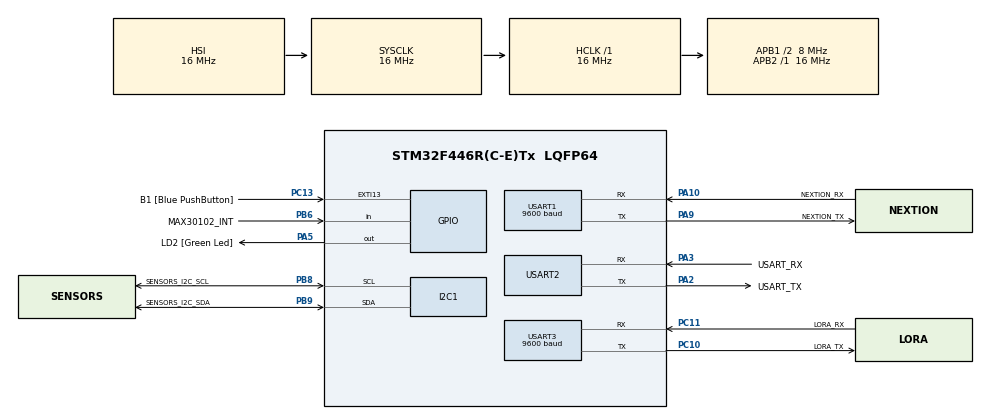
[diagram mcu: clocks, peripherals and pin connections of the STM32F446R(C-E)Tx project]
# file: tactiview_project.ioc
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FREERTOS.Tasks01=defaultTask,24,128,StartDefaultTask,Default,NULL,Dynamic,NULL,NULL
FREERTOS.configUSE_NEWLIB_REENTRANT=1
Mcu.Family=STM32F4
Mcu.Name=STM32F446R(C-E)Tx
Mcu.Package=LQFP64
NVIC.PriorityGroup=NVIC_PRIORITYGROUP_4
NVIC.TIM6_DAC_IRQn=true\:15\:0\:false\:false\:true\:false\:false\:true\:true
NVIC.TimeBase=TIM6_DAC_IRQn
NVIC.TimeBaseIP=TIM6
NVIC.USART1_IRQn=true\:5\:0\:false\:false\:true\:true\:true\:true\:true
NVIC.USART3_IRQn=true\:5\:0\:false\:false\:true\:true\:true\:true\:true
PA10.GPIO_Label=NEXTION_RX
PA10.Mode=Asynchronous
PA10.Signal=USART1_RX
PA13.GPIO_Label=TMS
PA13.Mode=Serial_Wire
PA13.Signal=SYS_JTMS-SWDIO
PA14.GPIO_Label=TCK
PA14.Mode=Serial_Wire
PA14.Signal=SYS_JTCK-SWCLK
PA2.GPIO_Label=USART_TX
PA2.Mode=Asynchronous
PA2.Signal=USART2_TX
PA3.GPIO_Label=USART_RX
PA3.Mode=Asynchronous
PA3.Signal=USART2_RX
PA5.GPIO_Label=LD2 [Green Led]
PA5.Signal=GPIO_Output
PA9.GPIO_Label=NEXTION_TX
PA9.Mode=Asynchronous
PA9.Signal=USART1_TX
PB3.GPIO_Label=SWO
PB3.Signal=SYS_JTDO-SWO
PB6.GPIO_Label=MAX30102_INT
PB6.Signal=GPIO_Input
PB8.GPIO_Label=SENSORS_I2C_SCL
PB8.Mode=I2C
PB8.Signal=I2C1_SCL
PB9.GPIO_Label=SENSORS_I2C_SDA
PB9.Mode=I2C
PB9.Signal=I2C1_SDA
PC10.GPIO_Label=LORA_TX
PC10.Mode=Asynchronous
PC10.Signal=USART3_TX
PC11.GPIO_Label=LORA_RX
PC11.Mode=Asynchronous
PC11.Signal=USART3_RX
PC13.GPIO_Label=B1 [Blue PushButton]
PC13.GPIO_ModeDefaultEXTI=GPIO_MODE_IT_FALLING
PC13.Signal=GPXTI13
PH0-OSC_IN.Mode=HSE-External-Oscillator
PH0-OSC_IN.Signal=RCC_OSC_IN
PH1-OSC_OUT.Mode=HSE-External-Oscillator
PH1-OSC_OUT.Signal=RCC_OSC_OUT
ProjectManager.HeapSize=0x200
ProjectManager.StackSize=0x400
ProjectManager.TargetToolchain=STM32CubeIDE
RCC.48MHZClocksFreq_Value=84000000
RCC.AHBFreq_Value=16000000
RCC.APB1CLKDivider=RCC_HCLK_DIV2
RCC.APB1Freq_Value=8000000
RCC.APB1TimFreq_Value=16000000
RCC.APB2Freq_Value=16000000
RCC.APB2TimFreq_Value=16000000
RCC.CortexFreq_Value=16000000
RCC.FLatency-AdvancedSettings=FLASH_LATENCY_0
RCC.HCLKFreq_Value=16000000
RCC.HSE_VALUE=8000000
RCC.HSI_VALUE=16000000
RCC.PLLN=336
RCC.PLLP=RCC_PLLP_DIV4
RCC.SYSCLKFreq_VALUE=16000000
RCC.USBFreq_Value=168000000
RCC.VCOOutputFreq_Value=336000000
USART1.BaudRate=9600
USART1.VirtualMode=VM_ASYNC
USART2.VirtualMode=VM_ASYNC
USART3.BaudRate=9600
USART3.VirtualMode=VM_ASYNC
VP_FREERTOS_VS_CMSIS_V2.Mode=CMSIS_V2
VP_SYS_VS_tim6.Mode=TIM6
board=NUCLEO-F446RE

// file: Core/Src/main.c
/* USER CODE BEGIN Header */
/**
  ******************************************************************************
  * @file           : main.c
  * @brief          : Main program body
  ******************************************************************************
  * @attention
  *
  * Copyright (c) 2026 STMicroelectronics.
  * All rights reserved.
  *
  * This software is licensed under terms that can be found in the LICENSE file
  * in the root directory of this software component.
  * If no LICENSE file comes with this software, it is provided AS-IS.
  *
  ******************************************************************************
  */
/* USER CODE END Header */
#include "main.h"
#include "cmsis_os.h"

/* USER CODE BEGIN PD */
#define DEVICE_ID 1
/* USER CODE END PD */

I2C_HandleTypeDef hi2c1;

UART_HandleTypeDef huart1;
UART_HandleTypeDef huart2;
UART_HandleTypeDef huart3;

/* Definitions for defaultTask */
osThreadId_t defaultTaskHandle;
const osThreadAttr_t defaultTask_attributes = {
  .name = "defaultTask",
  .stack_size = 128 * 4,
  .priority = (osPriority_t) osPriorityNormal,
};

void SystemClock_Config(void);
static void MX_GPIO_Init(void);
static void MX_USART2_UART_Init(void);
static void MX_I2C1_Init(void);
static void MX_USART1_UART_Init(void);
static void MX_USART3_UART_Init(void);
void StartDefaultTask(void *argument);

/* USER CODE BEGIN 0 */
void sensors_init_task(void *pvParameters);
void body_temp_task(void *pvParameters);
void enviroment_task(void *pvParameters);
void pulse_task(void *pvParameters);
void screen_data_tx_task(void *pvParameters);
void screen_data_rx_task(void* pvParameters);

TaskHandle_t sensors_init_handle ;
TaskHandle_t pulse_handle ;
TaskHandle_t body_temp_handle ;
TaskHandle_t enviroment_handle ;
TaskHandle_t datatx_handle ;
TaskHandle_t datarx_handle;

uint32_t raw_pulse = 0;
static SemaphoreHandle_t semphr_i2c;
static QueueHandle_t qEnv, qBody, qBpm, qSpo2, qLora;
/* USER CODE END 0 */

int main(void)
{

  /* MCU Configuration--------------------------------------------------------*/

  /* Reset of all peripherals, Initializes the Flash interface and the Systick. */
  HAL_Init();

  /* Configure the system clock */
  SystemClock_Config();

  /* Initialize all configured peripherals */
  MX_GPIO_Init();
  MX_USART2_UART_Init();
  MX_I2C1_Init();
  MX_USART1_UART_Init();
  MX_USART3_UART_Init();
  /* USER CODE BEGIN 2 */
  HAL_Delay(1000);
  BaseType_t status;

  status = xTaskCreate(sensors_init_task, "Sensors Init Task", 1024, NULL, 1, &sensors_init_handle);
  if(status != pdPASS ){
	  Error_Handler();
  }
  status = xTaskCreate(pulse_task, "Pulse Task", 2048, NULL, 1, &pulse_handle);
  if(status != pdPASS ){
	  Error_Handler();
  }
  status = xTaskCreate(enviroment_task, "Enviroment Task", 2048, NULL, 1, &enviroment_handle);
  if(status != pdPASS ){
	  Error_Handler();
  }
  status = xTaskCreate(body_temp_task, "Body Temp Task", 2048, NULL, 1, &body_temp_handle);
  if(status != pdPASS ){
	  Error_Handler();
  }
  status = xTaskCreate(screen_data_tx_task, "Screen Data Transmit Task", 2048, NULL, 1, &datatx_handle);
  if(status != pdPASS ){
	  Error_Handler();
  }

  status = xTaskCreate(screen_data_rx_task, "Screen Data Recieve Task", 2048, NULL, 1, &datarx_handle);
  if(status != pdPASS ){
	  Error_Handler();
  }

  semphr_i2c = xSemaphoreCreateMutex();

  qEnv = xQueueCreate(5,sizeof(struct bme68x_data));
  qBody = xQueueCreate(5,sizeof(float));
  qBpm =  xQueueCreate(5,sizeof(uint8_t));
  qSpo2 = xQueueCreate(5,sizeof(uint8_t));
  qLora = xQueueCreate(2,sizeof(lora_msg));

  xSemaphoreGive(semphr_i2c);

  vTaskStartScheduler();
  /* USER CODE END 2 */

  /* Init scheduler */
  osKernelInitialize();

  /* Create the thread(s) */
  /* creation of defaultTask */
  defaultTaskHandle = osThreadNew(StartDefaultTask, NULL, &defaultTask_attributes);

  /* Start scheduler */
  osKernelStart();

  /* We should never get here as control is now taken by the scheduler */

  /* Infinite loop */
  while (1)
  {

  }
}

void SystemClock_Config(void)
{
  RCC_OscInitTypeDef RCC_OscInitStruct = {0};
  RCC_ClkInitTypeDef RCC_ClkInitStruct = {0};

  /** Configure the main internal regulator output voltage
  */
  __HAL_RCC_PWR_CLK_ENABLE();
  __HAL_PWR_VOLTAGESCALING_CONFIG(PWR_REGULATOR_VOLTAGE_SCALE3);

  /** Initializes the RCC Oscillators according to the specified parameters
  * in the RCC_OscInitTypeDef structure.
  */
  RCC_OscInitStruct.OscillatorType = RCC_OSCILLATORTYPE_HSI;
  RCC_OscInitStruct.HSIState = RCC_HSI_ON;
  RCC_OscInitStruct.HSICalibrationValue = RCC_HSICALIBRATION_DEFAULT;
  RCC_OscInitStruct.PLL.PLLState = RCC_PLL_NONE;
  if (HAL_RCC_OscConfig(&RCC_OscInitStruct) != HAL_OK)
  {
    Error_Handler();
  }

  /** Initializes the CPU, AHB and APB buses clocks
  */
  RCC_ClkInitStruct.ClockType = RCC_CLOCKTYPE_HCLK|RCC_CLOCKTYPE_SYSCLK
                              |RCC_CLOCKTYPE_PCLK1|RCC_CLOCKTYPE_PCLK2;
  RCC_ClkInitStruct.SYSCLKSource = RCC_SYSCLKSOURCE_HSI;
  RCC_ClkInitStruct.AHBCLKDivider = RCC_SYSCLK_DIV1;
  RCC_ClkInitStruct.APB1CLKDivider = RCC_HCLK_DIV2;
  RCC_ClkInitStruct.APB2CLKDivider = RCC_HCLK_DIV1;

  if (HAL_RCC_ClockConfig(&RCC_ClkInitStruct, FLASH_LATENCY_0) != HAL_OK)
  {
    Error_Handler();
  }
}

static void MX_I2C1_Init(void)
{

  hi2c1.Instance = I2C1;
  hi2c1.Init.ClockSpeed = 100000;
  hi2c1.Init.DutyCycle = I2C_DUTYCYCLE_2;
  hi2c1.Init.OwnAddress1 = 0;
  hi2c1.Init.AddressingMode = I2C_ADDRESSINGMODE_7BIT;
  hi2c1.Init.DualAddressMode = I2C_DUALADDRESS_DISABLE;
  hi2c1.Init.OwnAddress2 = 0;
  hi2c1.Init.GeneralCallMode = I2C_GENERALCALL_DISABLE;
  hi2c1.Init.NoStretchMode = I2C_NOSTRETCH_DISABLE;
  if (HAL_I2C_Init(&hi2c1) != HAL_OK)
  {
    Error_Handler();
  }

}

static void MX_USART1_UART_Init(void)
{

  huart1.Instance = USART1;
  huart1.Init.BaudRate = 9600;
  huart1.Init.WordLength = UART_WORDLENGTH_8B;
  huart1.Init.StopBits = UART_STOPBITS_1;
  huart1.Init.Parity = UART_PARITY_NONE;
  huart1.Init.Mode = UART_MODE_TX_RX;
  huart1.Init.HwFlowCtl = UART_HWCONTROL_NONE;
  huart1.Init.OverSampling = UART_OVERSAMPLING_16;
  if (HAL_UART_Init(&huart1) != HAL_OK)
  {
    Error_Handler();
  }

}

static void MX_USART2_UART_Init(void)
{

  huart2.Instance = USART2;
  huart2.Init.BaudRate = 115200;
  huart2.Init.WordLength = UART_WORDLENGTH_8B;
  huart2.Init.StopBits = UART_STOPBITS_1;
  huart2.Init.Parity = UART_PARITY_NONE;
  huart2.Init.Mode = UART_MODE_TX_RX;
  huart2.Init.HwFlowCtl = UART_HWCONTROL_NONE;
  huart2.Init.OverSampling = UART_OVERSAMPLING_16;
  if (HAL_UART_Init(&huart2) != HAL_OK)
  {
    Error_Handler();
  }

}

static void MX_USART3_UART_Init(void)
{

  huart3.Instance = USART3;
  huart3.Init.BaudRate = 9600;
  huart3.Init.WordLength = UART_WORDLENGTH_8B;
  huart3.Init.StopBits = UART_STOPBITS_1;
  huart3.Init.Parity = UART_PARITY_NONE;
  huart3.Init.Mode = UART_MODE_TX_RX;
  huart3.Init.HwFlowCtl = UART_HWCONTROL_NONE;
  huart3.Init.OverSampling = UART_OVERSAMPLING_16;
  if (HAL_UART_Init(&huart3) != HAL_OK)
  {
    Error_Handler();
  }

}

static void MX_GPIO_Init(void)
{
  GPIO_InitTypeDef GPIO_InitStruct = {0};

  /* GPIO Ports Clock Enable */
  __HAL_RCC_GPIOC_CLK_ENABLE();
  __HAL_RCC_GPIOH_CLK_ENABLE();
  __HAL_RCC_GPIOA_CLK_ENABLE();
  __HAL_RCC_GPIOB_CLK_ENABLE();

  /*Configure GPIO pin Output Level */
  HAL_GPIO_WritePin(LD2_GPIO_Port, LD2_Pin, GPIO_PIN_RESET);

  /*Configure GPIO pin : B1_Pin */
  GPIO_InitStruct.Pin = B1_Pin;
  GPIO_InitStruct.Mode = GPIO_MODE_IT_FALLING;
  GPIO_InitStruct.Pull = GPIO_NOPULL;
  HAL_GPIO_Init(B1_GPIO_Port, &GPIO_InitStruct);

  /*Configure GPIO pin : LD2_Pin */
  GPIO_InitStruct.Pin = LD2_Pin;
  GPIO_InitStruct.Mode = GPIO_MODE_OUTPUT_PP;
  GPIO_InitStruct.Pull = GPIO_NOPULL;
  GPIO_InitStruct.Speed = GPIO_SPEED_FREQ_LOW;
  HAL_GPIO_Init(LD2_GPIO_Port, &GPIO_InitStruct);

  /*Configure GPIO pin : MAX30102_INT_Pin */
  GPIO_InitStruct.Pin = MAX30102_INT_Pin;
  GPIO_InitStruct.Mode = GPIO_MODE_INPUT;
  GPIO_InitStruct.Pull = GPIO_NOPULL;
  HAL_GPIO_Init(MAX30102_INT_GPIO_Port, &GPIO_InitStruct);

}

/* USER CODE BEGIN 4 */
void vApplicationStackOverflowHook(TaskHandle_t xTask, char *pcTaskName) {
    (void)xTask; (void)pcTaskName;
    __BKPT(0);
    for(;;);
}
void vApplicationMallocFailedHook(void) {
    __BKPT(0);
    for(;;);
}

/* Re-arm receive IT after a UART error so the ISR is never permanently lost */
void HAL_UART_ErrorCallback(UART_HandleTypeDef *huart)
{
    if (huart->Instance == USART3)
    {
        HAL_UART_Receive_IT(&huart3, &screen_rx_byte, 1);
    }
    if (huart->Instance == USART1)
    {
        HAL_UART_Receive_IT(&huart1, &lora_rx_byte, 1);
    }
}

void HAL_UART_RxCpltCallback(UART_HandleTypeDef *huart)
{
    if (huart->Instance == USART3) //nextion uart bu adresi kullanyor.
    {
    	//byte mesajı ayıklama.
        switch (screen_state)
        {
            case 0:
                if (screen_rx_byte == START_CHAR) screen_state = 1;
                break;

            case 1:
                if (screen_rx_byte == PAGE_CHAR) {
                    screen_state = 2;
                } else {
                    screen_state = 0;
                }
                break;

            case 2: // component ID
                screen_comp = screen_rx_byte;
                screen_state = 3;
                break;

            case 3:
            {
                BaseType_t xHigherPriorityTaskWoken = pdFALSE;

                xTaskNotifyFromISR(
                    datarx_handle,
                    0,
                    eNoAction,
                    &xHigherPriorityTaskWoken
                );
                //ekrana yazma taskına bildirim at
                portYIELD_FROM_ISR(xHigherPriorityTaskWoken);

                screen_state = 0;
                break;
            }
        }

        // UART kesmesi içinde tekrar 1 byte al
        HAL_UART_Receive_IT(&huart3, &screen_rx_byte, 1);
    }
    if(huart->Instance == USART1){ //lora uart bu adresi kullanıyor. //todo gereksiz uart girişi var.
    	if (lora_rx_byte == '\r') {
    	    // ignore carriage return
    	}else if(lora_rx_byte != '\n'){
    		if (lora_rx_index < sizeof(lora_msg) - 1) {
    		    lora_msg[lora_rx_index++] = lora_rx_byte;
    		} else {
    		    lora_rx_index = 0;
    		}
    	}else{
    		lora_msg[lora_rx_index] = '\0';   // NULL termination EKLENDİ
    		if (lora_rx_index > 0) {          // ignore empty messages (stray \n from LoRa module response)
    		    xQueueSendFromISR(qLora, lora_msg, NULL);
    		}
    		lora_rx_index = 0;
    	}
    	HAL_UART_Receive_IT(&huart1, &lora_rx_byte, 1);

    }
}

void sensors_init_task(void *pvParameters) {
	if (xSemaphoreTake(semphr_i2c, portMAX_DELAY) == pdTRUE) { //senkronizasyon için binary semaphor kullanıldı.
		max30102_user_init();
		bme680_user_init();
		mlx90614_init();
		xSemaphoreGive(semphr_i2c);
	}
	for (;;) {
		xTaskNotifyWait(0, 0, NULL, portMAX_DELAY); //yeniden init gerekirse notify bekle.
	}
}

void pulse_task(void *pvParameters) {
    static uint8_t bpm = 0;
    static uint8_t spo2 = 0;
    uint8_t prev_bpm = 0;
    SensorState_t state ;
    static uint8_t fake_bpm = 0;
    static const TickType_t POLL_FAST_MS = pdMS_TO_TICKS(10);
    static const TickType_t POLL_SLOW_MS = pdMS_TO_TICKS(500);

    for (;;) {
        if (xSemaphoreTake(semphr_i2c, pdMS_TO_TICKS(500)) == pdTRUE) {
            max30102_user_read(&bpm, &spo2,&state);
            xSemaphoreGive(semphr_i2c);
        }
        if (fake_bpm == 0) {
            // 62–72 arası rastgele başlangıç
            fake_bpm = 62 + (rand() % 11);
        }
        switch (state) {
            case SENSOR_NO_FINGER:
                bpm      = 0;
                spo2     = 0;
                prev_bpm = 0;
                fake_bpm = 0;
                break;

            case SENSOR_WARMING_UP:
                // Her 2 saniyede bir hafifçe oynasın (±1)
                if ((HAL_GetTick() % 2000) < 100) {
                    int8_t delta = (10 % 3) - 1;  // -1, 0, +1
                    fake_bpm += delta;
                    if (fake_bpm < 62) fake_bpm = 62;
                    if (fake_bpm > 72) fake_bpm = 72;
                }
                bpm = (prev_bpm > 0) ? prev_bpm : fake_bpm;
                break;

            case SENSOR_MEASURING:
                if (bpm < 55 || bpm > 140) {
                    // Geçersiz aralık → öncekini koru
                    bpm = (prev_bpm > 0) ? prev_bpm : 63;
                } else {
                    prev_bpm = bpm;  // geçerli → kaydet
                }
                break;
        }
        xQueueSend(qBpm, &bpm, 0);
        xQueueSend(qSpo2, &spo2, 0);
        if (state == SENSOR_NO_FINGER) {
              vTaskDelay(POLL_SLOW_MS);
         } else {
              vTaskDelay(POLL_FAST_MS);
         }
    }
}

void enviroment_task(void *pvParameters) {
    struct bme68x_data air_data;
    for (;;) {

        if (xSemaphoreTake(semphr_i2c, pdMS_TO_TICKS(500)) == pdTRUE) {
            bme680_read_withiaq(&air_data);
            if(air_data.temperature > 30){
            	air_data.tempe -= 6 ;
            	air_data.temperature -= 6;

            }
            xSemaphoreGive(semphr_i2c);

        }
        xQueueSend(qEnv,&air_data,0); //todo düşün
        vTaskDelay(pdMS_TO_TICKS(1000));
    }
}

void body_temp_task(void *pvParameters) {
    float temp = 0;
    for (;;) {
    	if((int32_t)temp == -268){
    		NVIC_SystemReset();
    	}
        if (xSemaphoreTake(semphr_i2c, pdMS_TO_TICKS(500)) == pdTRUE) {
            mlx90614_read_temp(&temp);
            temp+= 4.5 ;
            xSemaphoreGive(semphr_i2c);
        }
        xQueueSend(qBody,&temp,0); //todo düşün
        vTaskDelay(pdMS_TO_TICKS(300)); // örneğin her 0.5 sn sleep mode düşün
    }
}

void screen_data_tx_task(void *pvParameters) {
	uint8_t bpm;
	uint8_t spo2;
	char lora_msg_task[72];
	float body_temp;
    struct bme68x_data air_data;
    char air_q[20]; //air quality string

    NX_Init(); // ekranı başlat.
    uint32_t last_time = HAL_GetTick();

    HAL_UART_Receive_IT(&huart1, &lora_rx_byte, 1); //lora recieve interrupt başlatıldı.
    for (;;) {
    	if(xQueueReceive(qBpm, &bpm, 50) != pdPASS){ //en hızlı gelen veri

    	}
    	if(xQueueReceive(qSpo2, &spo2, 50) != pdPASS){ //spo2 verisi

    	}
    	if(xQueueReceive(qBody, &body_temp, 50) != pdPASS){ //orta hızlı gelen veri

    	}
    	if(xQueueReceive(qEnv,  &air_data, 50) != pdPASS){ // yavaş gelen veri

    	}
    	if (xQueueReceive(qLora, lora_msg_task, 5) == pdPASS)
    	{
    	    int target_id = 0;
    	    char msg[64] = {0};
    	    uint8_t show_msg = 1;

    	    // LoRa modül cevaplarını ve monitoring paketlerini gösterme
    	    if (strcmp(lora_msg_task, "CCESS") == 0 ||
    	        strcmp(lora_msg_task, "CESS") == 0 ||
    	        strcmp(lora_msg_task, "SS") == 0 ||
    	        strcmp(lora_msg_task, "SUCCESS") == 0 ||
				strcmp(lora_msg_task, "ESS") == 0 ||
				strcmp(lora_msg_task, "S") == 0 ||
    	        lora_msg_task[0] == '!')
    	    {
    	        show_msg = 0;
    	    }

    	    // ADM ID=x MSG=... formatındaki yönetici mesajı
    	    else if (sscanf(lora_msg_task, "ADM ID=%d MSG=%63[^\n]", &target_id, msg) == 2)
    	    {
    	        if (target_id != DEVICE_ID)
    	        {
    	            // Mesaj bu cihaza ait değilse pas geç
    	            show_msg = 0;
    	        }
    	        else
    	        {
    	            // Mesaj bu cihaza aitse sadece MSG içeriğini göster
    	        	snprintf(lora_msg_task, sizeof(lora_msg_task), "Admin: %s", msg);
    	        }
    	    }

    	    if (show_msg)
    	    {
    	        NX_send_cmd("page0.n0.val+=1");

    	        NX_send_cmd("page3.m4.txt=page3.m3.txt");
    	        NX_send_cmd("page3.m3.txt=page3.m2.txt");
    	        NX_send_cmd("page3.m2.txt=page3.m1.txt");

    	        char nextionCmd[96];
    	        snprintf(nextionCmd, sizeof(nextionCmd),
    	                 "page3.m1.txt=\"%s\"", lora_msg_task);

    	        NX_send_cmd(nextionCmd);
    	    }
    	}
    	if(bpm == 0 || spo2 == 0){
    		bpm = 0;
    		spo2 = 0;
    	}
    	//queue dan alınan verileri ekrana gönder.
    	NX_set_data(box_pulse, (int16_t)bpm);
    	NX_set_data(box_spo2, (int16_t)spo2);
    	NX_set_data(box_enviroment_temp, (int16_t)(air_data.temperature) + 0.5f);
    	NX_set_data(box_humidity, (int16_t)(air_data.humidity + 0.5f));
    	NX_set_float(box_body_temp, (body_temp));
    	air_quality(&air_data, air_q);
    	NX_set_txt(box_air_quality, air_q);

    	if(HAL_GetTick() - last_time >= 30000)
    	{
    	    last_time = HAL_GetTick();

    	    char monitor_msg[128];

    	    snprintf(monitor_msg, sizeof(monitor_msg),
    	             "!ID=%d BPM=%d SPO2=%d BT=%.2f T=%d H=%d IAQ=%s\n",
    	             DEVICE_ID,
					 bpm,
    	             spo2,
    	             body_temp,
    	             (int16_t)(air_data.temperature + 0.5f),
    	             (int16_t)(air_data.humidity + 0.5f),
    	             air_q);

    	    lora_send_msg(monitor_msg);
    	}

        vTaskDelay(pdMS_TO_TICKS(200)); // BME680 periyodunda
#ifdef UART_LOG
        char msg[40];
        int len = snprintf(msg, sizeof(msg),"[TX] BPM=%d  BT=%.2f  T=%d  H=%d  IAQ=%d\n",
                bpm,
                body_temp,
                (int16_t)(air_data.temperature + 0.5f),
                (int16_t)(air_data.humidity + 0.5f),
                (uint8_t)(air_quality(&air_data) ) );
        HAL_UART_Transmit(&huart2, (uint8_t*)msg, (uint16_t)len, HAL_MAX_DELAY);
#endif
    }
}

void screen_data_rx_task(void* pvParameters){
	HAL_UART_Receive_IT(&huart3, &screen_rx_byte, 1); //screen recieve interrupt başlatıldı.
	for(;;){
		xTaskNotifyWait(0, 0, NULL, portMAX_DELAY); //bildirim bekle
		if (screen_rx_byte == END_CHAR) {
			// ✅ Tam paket alındı
			switch (screen_comp) {
			case 0x01: //msg box number reset
				NX_send_cmd("page0.n0.val=0");
				break;

			case 0x02: //send pulse and spo2 info.
				uint8_t bpm;
				float body_temp;
				if(xQueuePeek(qBpm, &bpm, 10) == pdTRUE || xQueuePeek(qBody, &body_temp, 10) == pdTRUE ){
					snprintf(nextion_msg,sizeof(nextion_msg),"Pulse: %d, BODY TEMP: %d",bpm,(uint8_t)body_temp);
				}else{

					snprintf(nextion_msg,sizeof(nextion_msg),"Pulse: ERR, BODY TEMP: ERR");
				}
				lora_send_msg(nextion_msg);
				break;
			case 0x04: // I'M OK //ayıklanan byte da gelen veriye göre aksiyon al
				snprintf(nextion_msg,sizeof(nextion_msg),"ID:%d I'M OK\n",DEVICE_ID);
				lora_send_msg(nextion_msg);
				break;

			case 0x05: // HELP
				snprintf(nextion_msg,sizeof(nextion_msg),"ID:%d HELP\n",DEVICE_ID);
				lora_send_msg(nextion_msg);

				break;

			case 0x06: // DANGER
				snprintf(nextion_msg,sizeof(nextion_msg),"ID:%d DANGER\n",DEVICE_ID);
				lora_send_msg(nextion_msg);
				break;

			case 0x07: // INJURED
				snprintf(nextion_msg,sizeof(nextion_msg),"ID:%d INJURED\n",DEVICE_ID);
				lora_send_msg(nextion_msg);
				break;

			case 0x08: // AREA UNSAFE
				snprintf(nextion_msg,sizeof(nextion_msg),"ID:%d AREA UNSAFE\n",DEVICE_ID);
				lora_send_msg(nextion_msg);
				break;

			case 0x09: // RETURN TO BASE
				snprintf(nextion_msg,sizeof(nextion_msg),"ID:%d RETURN TO BASE\n",DEVICE_ID);
				lora_send_msg(nextion_msg);
				break;

			default:
				break;
			}

		}

	}
}

/* USER CODE END 4 */

void StartDefaultTask(void *argument)
{
  for(;;)
  {
    osDelay(1);
  }
}

void HAL_TIM_PeriodElapsedCallback(TIM_HandleTypeDef *htim)
{
  if (htim->Instance == TIM6)
  {
    HAL_IncTick();
  }
}

void Error_Handler(void)
{
  __disable_irq();
  while (1)
  {
  }
}

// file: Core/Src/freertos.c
/* USER CODE BEGIN Header */
/**
  ******************************************************************************
  * File Name          : freertos.c
  * Description        : Code for freertos applications
  ******************************************************************************
  * @attention
  *
  * Copyright (c) 2026 STMicroelectronics.
  * All rights reserved.
  *
  * This software is licensed under terms that can be found in the LICENSE file
  * in the root directory of this software component.
  * If no LICENSE file comes with this software, it is provided AS-IS.
  *
  ******************************************************************************
  */
/* USER CODE END Header */

#include "FreeRTOS.h"
#include "task.h"
#include "main.h"

/* USER CODE BEGIN Includes */
#include "stm32f4xx_hal.h"
/* USER CODE END Includes */

/* USER CODE BEGIN Application */

/**
 * @brief  FreeRTOS idle hook — called by the idle task when no other task is ready.
 *
 * __WFI (Wait For Interrupt) puts the Cortex-M4 into SLEEP mode:
 *   - CPU pipeline halts → ~0 dynamic power
 *   - All peripheral clocks (USART1, USART3, TIM6, I2C1) stay active
 *   - Any enabled interrupt (UART RX, SysTick, PendSV, …) wakes the CPU
 *
 * When configUSE_TICKLESS_IDLE = 1, vPortSuppressTicksAndSleep() handles
 * multi-tick idle periods automatically (stops SysTick, issues __WFI,
 * restores tick count via vTaskStepTick). This hook covers the short
 * single-tick gaps that tickless does not suppress.
 *
 * TIM6 (HAL_GetTick timebase) is NOT touched — sensor timestamps remain accurate.
 */
void vApplicationIdleHook(void)
{
    __WFI();
}

/* USER CODE END Application */
